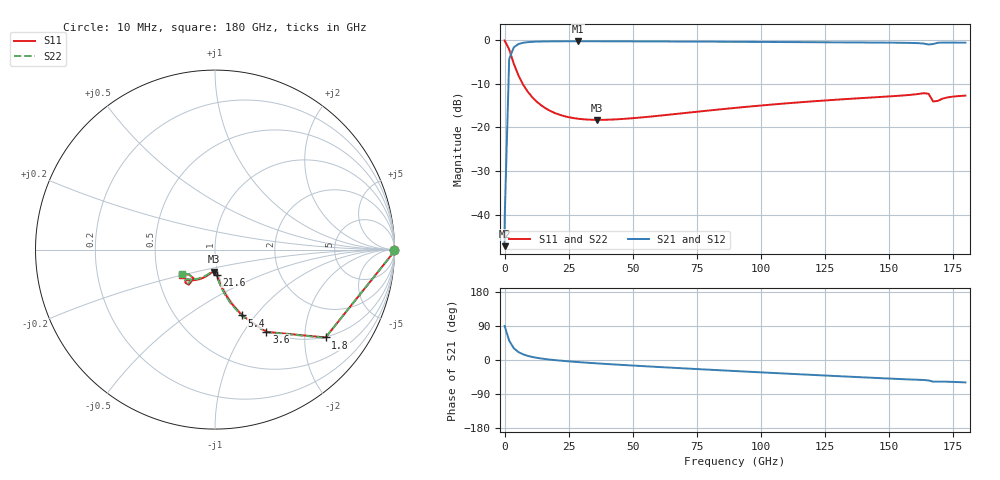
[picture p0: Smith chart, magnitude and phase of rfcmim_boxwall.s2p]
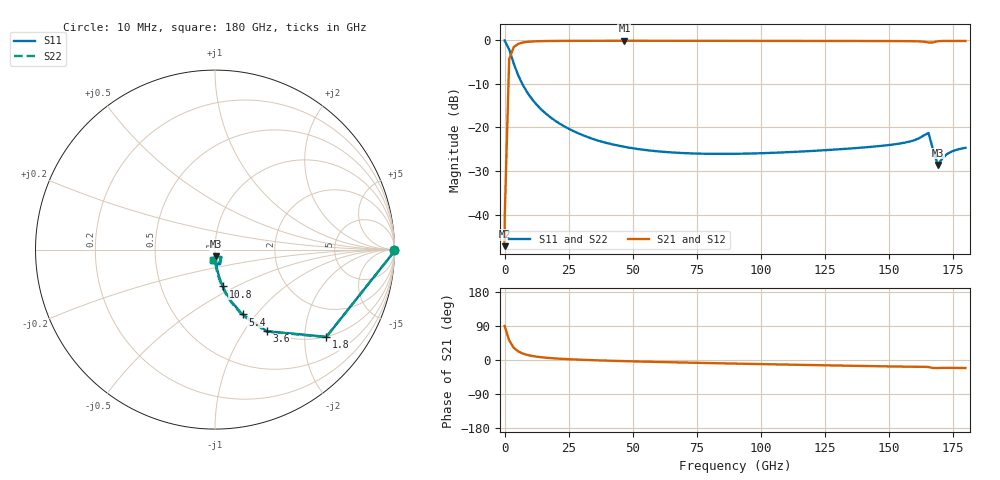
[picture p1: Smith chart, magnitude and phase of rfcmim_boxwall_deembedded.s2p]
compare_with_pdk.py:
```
"""Compare the calibrated Palace result of the rfcmim capacitor with the IHP SG13G2 PDK model.

Reads results/rfcmim_boxwall.s2p (raw: ports and 35 um feed lines included) and
results/rfcmim_boxwall_deembedded.s2p (calibrated, reference planes at the pcell edge), evaluates the PDK
subcircuit cap_rfcmim at the same frequencies and plots series capacitance and Q of all three.

The PDK model is the subcircuit cap_rfcmim from ihp-sg13g2/libs.tech/ngspice/models/capacitors_mod.lib
(IHP-Open-PDK, branch dev, commit 4bff57a), typical corner (cap_carea = 1.5e-15 from cornerCAP.lib),
written out here as a small circuit so that no circuit simulator is needed:

    PLUS --(Rskin || Lskin)-- Lmim -- Rmim -- Cmim --+-- Lfeed -- MINUS
                                                     |
                                                    Cox
                                                     |
                                              (Csub || Rsub)
                                                     |
                                                     bn (substrate = ground)

PLUS is the top plate (TopMetal1, port 1), MINUS the bottom plate (Metal5, port 2).

Usage:  python compare_with_pdk.py      (needs numpy, matplotlib, scikit-rf)
"""

import os
import numpy as np
import matplotlib.pyplot as plt
import skrf as rf

HERE = os.path.dirname(os.path.abspath(__file__))

# pcell parameters of the capacitor in rfcmim_boxwall.gds: MIM 30 um along the feed (l) and 15 um across (w)
L_MIM = 30e-6
W_MIM = 15e-6
W_FEED = 10e-6


def pdk_rfcmim_y(f, l=L_MIM, w=W_MIM, wfeed=W_FEED, cap_carea=1.5e-15):
    """2-port Y-parameters of the PDK subcircuit cap_rfcmim, PLUS = port 1, MINUS = port 2, bn = ground.
    The parameter equations are those of capacitors_mod.lib, unchanged."""
    sf = 1e-6
    lplate = (0.353158 * (l / sf) + 0.485684 * l / w) * 1e-12
    lfeed = (6.03468 + 0.0814268 * (w / sf) - 0.821243 * np.log(wfeed / sf) / np.log(1.55)) * 1e-12
    lskin = 1.18545e-012 + 6.95462e-014 * (l / sf)
    cox = (0.48922 + 0.0965145 * (w + l) / sf + 0.00610947 * (w * l) / (sf * sf) + 0.017 * (wfeed / sf) * 5) * 1e-15
    csub = (50.1021 + 0.277881 * (w + l) / sf + 1.25023e-005 * (w * l) / (sf * sf)) * 1e-15
    rsub = 610.132 - 1.11685 * (w + l) / sf + 0.00434371 * (w * l) / (sf * sf)
    rmim = 0.0463973 + 0.00219577 * l / w + 0.961292 / (wfeed / sf) + 0.00307712 * (l / sf) + 0.000217076 * (l / sf) * l / w
    rskin = 0.154618 + 0.00702016 * (l / sf)
    lmim = max(lplate + lfeed - lskin, 1e-18)
    rsub = max(rsub, 10e-3)
    lfeed = max(lfeed, 1e-18)
    # cmim_core: ngspice semiconductor capacitor, C = CJ * l * w + 2 * CJSW * (l + w), with l and w in um (scale=1)
    cmim = cap_carea * (l / sf) * (w / sf) + 2 * 40e-18 * (l / sf + w / sf)
    cic = 1e-18   # Cic1, Cic2: tiny capacitors from PLUS and MINUS to bn

    jw = 2j * np.pi * np.asarray(f, dtype=float)
    z_skin = 1 / (1 / rskin + 1 / (jw * lskin))
    z_a = z_skin + jw * lmim + rmim + 1 / (jw * cmim)            # PLUS to the inner node 5
    z_b = jw * lfeed                                            # inner node 5 to MINUS
    y_sub = jw * csub + 1 / rsub
    y_sh = 1 / (1 / (jw * cox) + 1 / y_sub) + 1 / 1e9           # node 5 to bn: Cox in series with Csub||Rsub, Rdummy
    z_sh = 1 / y_sh
    Z = np.empty((len(jw), 2, 2), dtype=complex)                # T network
    Z[:, 0, 0] = z_a + z_sh
    Z[:, 1, 1] = z_b + z_sh
    Z[:, 0, 1] = Z[:, 1, 0] = z_sh
    Y = np.linalg.inv(Z)
    Y[:, 0, 0] += jw * cic
    Y[:, 1, 1] += jw * cic
    return Y, cmim


def series_c_and_q(f, Y):
    """series element between port 1 and port 2: Z = -1/Y21, C = -1/(omega Im Z), Q = -Im Z / Re Z"""
    z = -1 / Y[:, 1, 0]
    omega = 2 * np.pi * f
    return -1 / (omega * z.imag), -z.imag / z.real


def main():
    raw = rf.Network(os.path.join(HERE, 'results', 'rfcmim_boxwall.s2p'))
    cal = rf.Network(os.path.join(HERE, 'results', 'rfcmim_boxwall_deembedded.s2p'))

    curves = []
    for label, ntw, style in (('Palace, raw: ports and 35 µm feed lines included', raw, dict(color='0.6', ls='--')),
                              ('Palace, calibrated: capacitor alone', cal, dict(color='C0', lw=2))):
        keep = ntw.f > 0
        c, q = series_c_and_q(ntw.f[keep], ntw.y[keep])
        curves.append((label, ntw.f[keep], c, q, style))
    f = cal.f[cal.f > 0]
    y_pdk, cmim = pdk_rfcmim_y(f)
    c, q = series_c_and_q(f, y_pdk)
    curves.append(('PDK model cap_rfcmim (typical)', f, c, q, dict(color='C3', lw=2, ls=':')))

    fig, (ax_z, ax_c, ax_q) = plt.subplots(1, 3, figsize=(15, 4.4))
    for label, fx, c, q, style in curves:
        z = np.abs(1 / (2 * np.pi * fx * c))   # |Im Z| of the series element, from C = -1/(omega Im Z)
        ax_z.plot(fx / 1e9, z, label=label, **style)
        ax_c.plot(fx / 1e9, np.where(c > 0, c, np.nan) * 1e15, label=label, **style)
        ax_q.plot(fx / 1e9, np.where(q > 0, q, np.nan), label=label, **style)
    ax_z.set_yscale('log')
    ax_z.set_xlim(0, 180)
    ax_z.set_ylabel('series reactance |X| (ohm)')
    ax_z.set_title('series reactance: the dip is the self-resonance')
    ax_c.set_xlim(0, 40)
    ax_c.set_ylim(650, 1500)
    ax_c.set_ylabel('series capacitance (fF)')
    ax_c.set_title('series capacitance, below self-resonance')
    ax_q.set_xlim(0, 40)
    ax_q.set_yscale('log')
    ax_q.set_ylim(2, 2000)
    ax_q.set_ylabel('Q')
    ax_q.set_title('Q, below self-resonance')
    for ax in (ax_z, ax_c, ax_q):
        ax.set_xlabel('frequency (GHz)')
        ax.grid(True, alpha=0.3)
    ax_z.legend(fontsize=8, loc='upper right')
    fig.suptitle('rfcmim, MIM 30 µm x 15 µm, feed width 10 µm: series element from Y21')
    fig.tight_layout()
    out = os.path.join(HERE, 'results', 'rfcmim_vs_pdk.png')
    fig.savefig(out, dpi=120)
    print(f'saved {out}')

    print(f'PDK Cmim (area and perimeter) = {cmim * 1e15:.1f} fF')
    print('  f/GHz   ' + '   '.join(f'{"C/fF":>7} {"Q":>6}' for _ in curves) + '   (raw, calibrated, PDK)')
    for f0 in (1e9, 5e9, 10e9, 20e9, 40e9, 60e9, 100e9, 140e9, 180e9):
        row = []
        for _, fx, c, q, _ in curves:
            i = np.argmin(abs(fx - f0))
            row.append(f'{c[i] * 1e15:7.1f} {q[i]:6.1f}')
        i = np.argmin(abs(curves[1][1] - f0))
        print(f'  {curves[1][1][i] / 1e9:6.1f}   ' + '   '.join(row))


if __name__ == '__main__':
    main()
```
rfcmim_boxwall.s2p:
#  GHZ S DB R 50
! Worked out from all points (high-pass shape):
!   102 points, 10 MHz to 180 GHz, reference 50 ohm
!   highest |S21| = -0.19 dB at 28.8 GHz (marker M1); lowest = -47.3 dB at 10 MHz (marker M2)
!   |S21| within 3 dB of the highest: 2.523 GHz to end of sweep
!   lowest |S11| = -18.2 dB at 36 GHz (marker M3), VSWR 1.28, Z = 48.1 - j11.9 ohm
!   |S11| at or under -10 dB: 7.108 GHz to end of sweep
!   |S22| runs from -18.4 to 0.0 dB; largest |S21 - S12| = 2.5e-13
!   S11 on the Smith chart (normalised r, x): 10 MHz: open; 1.8 GHz: 0.98, -2.53; 3.6 GHz: 0.98, -1.27; 5.4 GHz: 0.98, -0.86; 21.6 GHz: 0.98, -0.28; 180 GHz: 0.67, -0.20
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0.01  -0.00 -0.3  -47.28 89.7  -47.28 89.7  -0.00 -0.3
0.02  -0.00 -0.5  -41.26 89.5  -41.26 89.5  -0.00 -0.5
1.8  -2.08 -38.5  -4.27 51.1  -4.27 51.1  -2.08 -38.7
3.6  -5.35 -58.0  -1.57 31.1  -1.57 31.1  -5.36 -58.4
5.4  -8.03 -67.7  -0.83 20.9  -0.83 20.9  -8.05 -68.2
12.6  -14.09 -80.9  -0.27 5.8  -0.27 5.8  -14.13 -81.9
21.6  -17.10 -86.3  -0.19 -1.5  -0.19 -1.5  -17.17 -87.6
28.8  -18.00 -89.3  -0.19 -5.5  -0.19 -5.5  -18.09 -90.7
36  -18.25 -92.1  -0.19 -8.8  -0.19 -8.8  -18.35 -93.6
91.8  -15.40 -112.6  -0.31 -29.7  -0.31 -29.7  -15.54 -113.8
180  -12.68 -142.3  -0.51 -59.1  -0.51 -59.1  -12.82 -142.9
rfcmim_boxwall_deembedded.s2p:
!port 1: calibrated at port wall xmin, reference plane 35 um into the layout
!port 2: calibrated at port wall xmax, reference plane 35 um into the layout
! Created with skrf 2.2.0 (http://scikit-rf.org).
# GHz S DB R 50.0
!freq dBS11 angS11 dBS21 angS21 dBS12 angS12 dBS22 angS22
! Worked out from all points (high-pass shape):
!   102 points, 10 MHz to 180 GHz, reference 50 ohm
!   highest |S21| = -0.08 dB at 46.8 GHz (marker M1); lowest = -47.3 dB at 10 MHz (marker M2)
!   |S21| within 3 dB of the highest: 2.57 GHz to end of sweep
!   lowest |S11| = -28.6 dB at 169.2 GHz (marker M3), VSWR 1.08, Z = 50.5 - j3.69 ohm
!   |S11| at or under -10 dB: 6.95 GHz to end of sweep
!   |S22| runs from -28.4 to 0.0 dB; largest |S21 - S12| = 2.5e-13
!   S11 on the Smith chart (normalised r, x): 10 MHz: open; 1.8 GHz: 1.00, -2.56; 3.6 GHz: 1.00, -1.28; 5.4 GHz: 1.00, -0.85; 10.8 GHz: 1.00, -0.43; 180 GHz: 0.97, -0.11
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0.01  -0.00 -0.2  -47.28 89.7  -47.28 89.7  -0.00 -0.3
0.02  -0.00 -0.5  -41.26 89.5  -41.26 89.5  -0.00 -0.5
1.8  -2.07 -38.0  -4.24 51.7  -4.24 51.7  -2.07 -38.3
3.6  -5.36 -57.5  -1.52 32.1  -1.52 32.1  -5.37 -57.9
5.4  -8.12 -67.0  -0.76 22.4  -0.76 22.4  -8.13 -67.6
10.8  -13.55 -78.0  -0.23 10.6  -0.23 10.6  -13.57 -79.0
46.8  -24.45 -86.0  -0.08 -3.0  -0.08 -3.0  -24.54 -89.3
91.8  -26.03 -88.3  -0.09 -9.7  -0.09 -9.7  -26.18 -92.4
165.6  -21.26 -71.1  -0.47 -18.5  -0.47 -18.5  -21.38 -76.2
169.2  -28.63 -79.6  -0.18 -21.1  -0.18 -21.1  -28.36 -81.8
180  -24.67 -99.7  -0.12 -21.2  -0.12 -21.2  -24.81 -102.3
